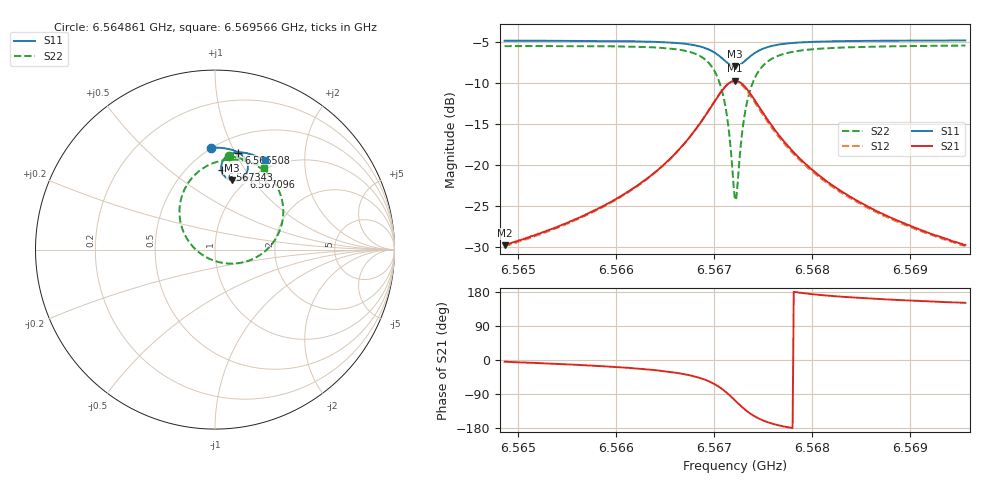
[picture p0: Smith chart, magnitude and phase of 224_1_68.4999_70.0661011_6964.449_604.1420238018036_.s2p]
#  HZ  S  RI  R  50.00
! Rohde & Schwarz Vector Network Analyzer
! Rohde-Schwarz,ZNB20-2Port,1311601062101988,3.16
! Created: UTC 3/20/2024, 5:13:46 PM
! freq[Hz]  re:S11  im:S11  re:S21  im:S21  re:S12  im:S12  re:S22  im:S22
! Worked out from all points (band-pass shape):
!   401 points, 6.564861 GHz to 6.569566 GHz, reference 50 ohm
!   highest |S21| = -9.79 dB at 6.567213 GHz (marker M1); lowest = -29.8 dB at 6.564861 GHz (marker M2)
!   |S21| within 3 dB of the highest: 6.566979 GHz to 6.56745 GHz (470.7 kHz wide, 0.00717 % of centre)
!   lowest |S11| = -8.0 dB at 6.567213 GHz (marker M3), VSWR 2.31, Z = 43.3 + j39.6 ohm
!   |S11| at or under -10 dB: nowhere
!   |S22| runs from -24.3 to -5.5 dB; largest |S21 - S12| = 0.017
!   S11 on the Smith chart (normalised r, x): 6.564861 GHz: 0.49, +0.83; 6.566508 GHz: 0.66, +1.03; 6.567096 GHz: 0.93, +0.94; 6.567343 GHz: 0.72, +0.79; 6.569566 GHz: 0.88, +1.30
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6.5648607e9  -0.0235 0.5686  0.0321 -0.0025  0.0317 -0.00304  0.0791 0.5208
6.5656488e9  0.0431 0.566  0.047 -0.0112  0.0462 -0.012  0.1601 0.5018
6.5661076e9  0.0863 0.5579  0.0633 -0.0237  0.0623 -0.0244  0.2212 0.4748
6.5664369e9  0.122 0.5451  0.083 -0.044  0.0819 -0.0449  0.2802 0.4331
6.5665075e9  0.1305 0.5406  0.0889 -0.0512  0.0876 -0.0523  0.2952 0.4186
6.5667428e9  0.161 0.5161  0.1111 -0.093  0.1094 -0.0949  0.3523 0.337
6.5669192e9  0.1814 0.4768  0.1208 -0.1622  0.1175 -0.1658  0.3803 0.2038
6.5670251e9  0.1798 0.4369  0.0997 -0.2322  0.093 -0.2369  0.344 0.0705
6.5670957e9  0.1618 0.4061  0.0536 -0.2842  0.0427 -0.2879  0.2571 -0.026
6.5671427e9  0.1387 0.39  0.00269 -0.3102  -0.0111 -0.3104  0.1618 -0.0696
6.5672015e9  0.1 0.3842  -0.0767 -0.3142  -0.0917 -0.3083  0.0173 -0.0689
6.5672133e9  0.0919 0.3856  -0.093 -0.3102  -0.1076 -0.3032  -0.0111 -0.0599
6.5672368e9  0.0768 0.3909  -0.1237 -0.2978  -0.1372 -0.2881  -0.0641 -0.0335
6.5672956e9  0.0476 0.4161  -0.1825 -0.246  -0.1906 -0.2324  -0.1598 0.0669
6.5673427e9  0.0366 0.4414  -0.2065 -0.196  -0.2099 -0.182  -0.1935 0.1579
6.5674368e9  0.0399 0.4856  -0.2079 -0.1107  -0.2059 -0.1  -0.1817 0.3067
6.5675779e9  0.0674 0.522  -0.1717 -0.0403  -0.1678 -0.0345  -0.1036 0.4245
6.5677426e9  0.0995 0.5377  -0.1318 -0.00701  -0.1286 -0.004  -0.0214 0.4775
6.5680014e9  0.1385 0.5423  -0.0924 0.0104  -0.09 0.0116  0.0656 0.4998
6.5683308e9  0.1761 0.5376  -0.0651 0.0156  -0.0635 0.0165  0.135 0.4994
6.5687895e9  0.2181 0.5253  -0.0449 0.0167  -0.0438 0.0172  0.1991 0.4861
6.5695659e9  0.2782 0.4982  -0.0283 0.0158  -0.0276 0.0158  0.2747 0.4546
